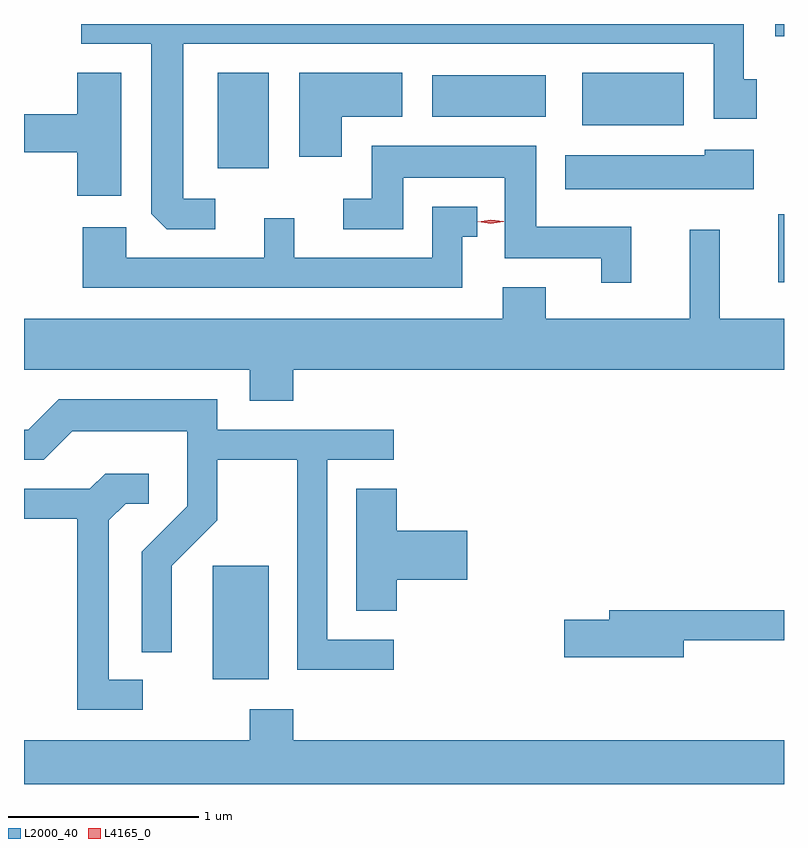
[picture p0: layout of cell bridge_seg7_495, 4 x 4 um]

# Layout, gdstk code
import gdstk
lib = gdstk.Library(unit=1e-6, precision=1e-09)
def R(c, l, rs):  # rectangles x0, y0, x1, y1
    for r in rs: c.add(gdstk.rectangle(r[:2], r[2:], *l))
def P(c, l, *ps):  # polygons
    for p in ps: c.add(gdstk.Polygon(p, *l))
L2000_40 = (2000, 40)
L4165_0 = (4165, 0)

bridge_seg7_495 = lib.new_cell('bridge_seg7_495')
R(bridge_seg7_495, L2000_40, [(1340.436,1726.006,1340.729,1726.604), (1343.411,1728.096,1343.442,1728.454), (1340.461,1728.696,1340.729,1729.199), (1342.381,1728.921,1342.914,1729.199), (1341.591,1728.966,1342.189,1729.184), (1343.396,1729.391,1343.442,1729.455)])
P(bridge_seg7_495, L2000_40, [(1340.448,1728.534),(1340.279,1728.534),(1340.279,1729.351),(1343.071,1729.351),(1343.071,1728.956),(1343.299,1728.956),(1343.299,1729.164),(1343.229,1729.164),(1343.229,1729.455),(1339.743,1729.455),(1339.743,1729.351),(1340.111,1729.351),(1340.111,1728.457),(1340.192,1728.376),(1340.448,1728.376)],
  [(1339.954,1729.199),(1339.721,1729.199),(1339.721,1728.979),(1339.442,1728.979),(1339.442,1728.781),(1339.721,1728.781),(1339.721,1728.551),(1339.954,1728.551)],
  [(1341.114,1728.966),(1341.434,1728.966),(1341.434,1729.199),(1340.891,1729.199),(1340.891,1728.756),(1341.114,1728.756)],
  [(1342.639,1728.389),(1342.139,1728.389),(1342.139,1728.814),(1341.271,1728.814),(1341.271,1728.534),(1341.123,1728.534),(1341.123,1728.376),(1341.439,1728.376),(1341.439,1728.646),(1341.971,1728.646),(1341.971,1728.221),(1342.481,1728.221),(1342.481,1728.093),(1342.639,1728.093)],
  [(1343.284,1728.794),(1343.026,1728.794),(1343.026,1728.764),(1342.291,1728.764),(1342.291,1728.586),(1343.284,1728.586)],
  [(1341.749,1728.336),(1341.828,1728.336),(1341.828,1728.494),(1341.591,1728.494),(1341.591,1728.224),(1340.864,1728.224),(1340.864,1728.433),(1340.706,1728.433),(1340.706,1728.224),(1339.979,1728.224),(1339.979,1728.384),(1339.751,1728.384),(1339.751,1728.066),(1341.749,1728.066)],
  [(1342.946,1728.373),(1342.946,1727.904),(1342.189,1727.904),(1342.189,1728.069),(1341.961,1728.069),(1341.961,1727.904),(1339.442,1727.904),(1339.442,1727.636),(1340.631,1727.636),(1340.631,1727.471),(1340.859,1727.471),(1340.859,1727.636),(1343.442,1727.636),(1343.442,1727.904),(1343.104,1727.904),(1343.104,1728.373)],
  [(1341.388,1726.214),(1341.039,1726.214),(1341.039,1727.161),(1341.388,1727.161),(1341.388,1727.319),(1340.459,1727.319),(1340.459,1727.479),(1339.624,1727.479),(1339.464,1727.319),(1339.442,1727.319),(1339.442,1727.161),(1339.547,1727.161),(1339.697,1727.311),(1340.301,1727.311),(1340.301,1726.917),(1340.061,1726.677),(1340.061,1726.148),(1340.219,1726.148),(1340.219,1726.604),(1340.459,1726.844),(1340.459,1727.161),(1340.881,1727.161),(1340.881,1726.056),(1341.388,1726.056)],
  [(1340.068,1726.004),(1339.889,1726.004),(1339.889,1726.844),(1339.977,1726.931),(1340.098,1726.931),(1340.098,1727.089),(1339.869,1727.089),(1339.789,1727.009),(1339.442,1727.009),(1339.442,1726.851),(1339.721,1726.851),(1339.721,1725.846),(1340.068,1725.846)],
  [(1341.404,1726.531),(1341.774,1726.531),(1341.774,1726.789),(1341.404,1726.789),(1341.404,1727.009),(1341.191,1727.009),(1341.191,1726.366),(1341.404,1726.366)],
  [(1342.914,1726.211),(1343.442,1726.211),(1343.442,1726.369),(1342.521,1726.369),(1342.521,1726.319),(1342.286,1726.319),(1342.286,1726.121),(1342.914,1726.121)],
  [(1343.442,1725.684),(1340.859,1725.684),(1340.859,1725.849),(1340.631,1725.849),(1340.631,1725.684),(1339.442,1725.684),(1339.442,1725.455),(1343.442,1725.455)])
P(bridge_seg7_495, L4165_0, [(1341.898,1728.405),(1341.829,1728.414),(1341.829,1728.415),(1341.829,1728.415),(1341.898,1728.425),(1341.968,1728.416),(1341.968,1728.416),(1341.968,1728.415)])

lib.write_gds('bridge_seg7_495.gds')
